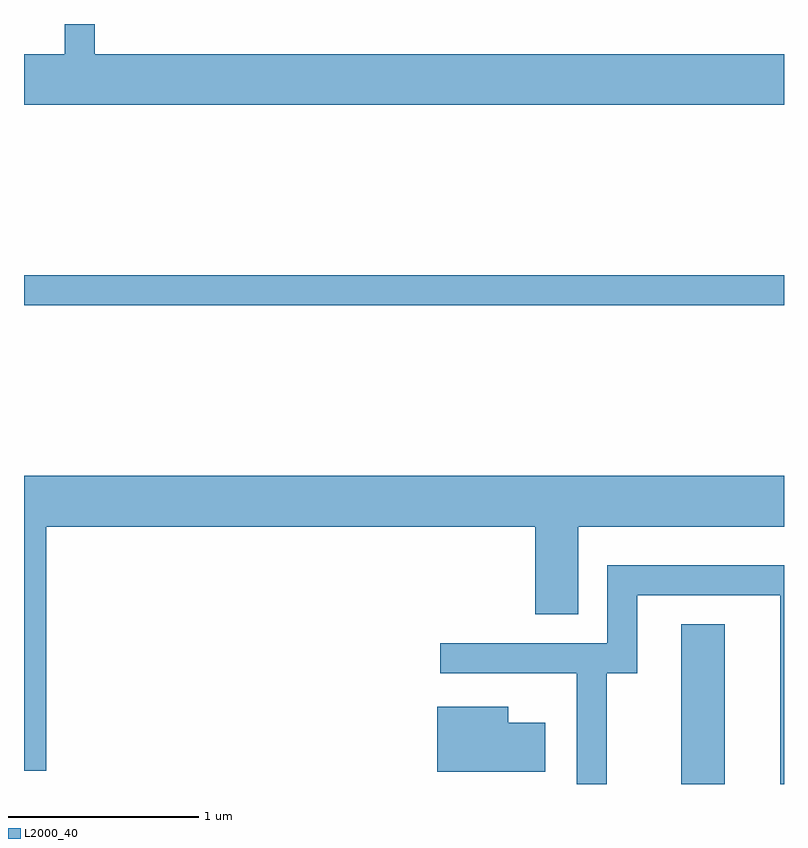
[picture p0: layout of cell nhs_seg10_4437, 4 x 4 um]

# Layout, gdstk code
import gdstk
lib = gdstk.Library(unit=1e-6, precision=1e-09)
def R(c, l, rs):  # rectangles x0, y0, x1, y1
    for r in rs: c.add(gdstk.rectangle(r[:2], r[2:], *l))
def P(c, l, *ps):  # polygons
    for p in ps: c.add(gdstk.Polygon(p, *l))
L2000_40 = (2000, 40)

nhs_seg10_4437 = lib.new_cell('nhs_seg10_4437')
R(nhs_seg10_4437, L2000_40, [(319.071,2152.522,319.299,2153.364), (315.611,2155.041,319.611,2155.199)])
P(nhs_seg10_4437, L2000_40, [(319.611,2156.364),(315.984,2156.364),(315.984,2156.522),(315.826,2156.522),(315.826,2156.364),(315.611,2156.364),(315.611,2156.096),(319.611,2156.096)],
  [(315.729,2153.876),(318.301,2153.876),(318.301,2153.416),(318.529,2153.416),(318.529,2153.876),(319.611,2153.876),(319.611,2154.144),(315.611,2154.144),(315.611,2152.591),(315.729,2152.591)],
  [(318.679,2153.106),(318.839,2153.106),(318.839,2153.516),(319.591,2153.516),(319.591,2152.522),(319.611,2152.522),(319.611,2153.674),(318.681,2153.674),(318.681,2153.264),(317.803,2153.264),(317.803,2153.106),(318.521,2153.106),(318.521,2152.522),(318.679,2152.522)],
  [(318.354,2152.844),(318.159,2152.844),(318.159,2152.929),(317.786,2152.929),(317.786,2152.586),(318.354,2152.586)])

lib.write_gds('nhs_seg10_4437.gds')
